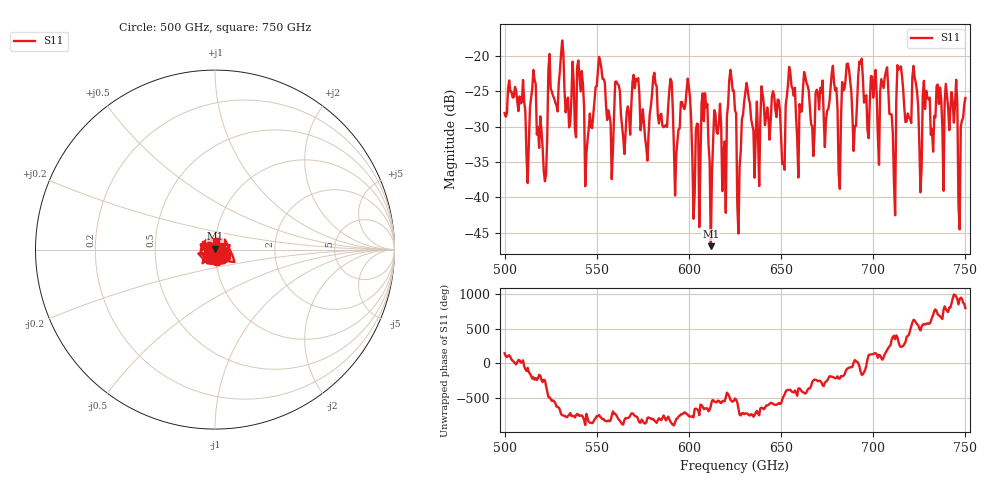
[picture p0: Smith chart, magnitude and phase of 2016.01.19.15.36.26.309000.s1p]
!Created with skrf (http://scikit-rf.org).
# GHz S RI R 50.0
!freq ReS11 ImS11
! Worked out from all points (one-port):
!   401 points, 500 GHz to 750 GHz, reference 50 ohm
!   lowest |S11| = -46.9 dB at 611.9 GHz (marker M1), VSWR 1.01, Z = 49.9 + j0.446 ohm
!   |S11| at or under -10 dB: start of sweep to end of sweep
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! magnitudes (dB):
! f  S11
! 500 GHz  -28.1
! 512.5 GHz  -38.0
! 515.6 GHz  -22.0
! 521.9 GHz  -37.7
! 525 GHz  -24.6
! 531.2 GHz  -17.8
! 545 GHz  -31.9
! 551.2 GHz  -20.1
! 557.5 GHz  -29.4
! 562.5 GHz  -24.9
! 590 GHz  -23.2
! 593.8 GHz  -32.1
! 608.8 GHz  -25.3
! 611.9 GHz  -46.9
! 619.4 GHz  -32.1
! 623.1 GHz  -23.2
! 625 GHz  -27.7
! 627.5 GHz  -35.7
! 631.2 GHz  -23.8
! 650.6 GHz  -35.2
! 656.2 GHz  -24.6
! 678.8 GHz  -23.8
! 681.2 GHz  -36.7
! 687.5 GHz  -23.5
! 718.8 GHz  -28.1
! 743.8 GHz  -29.4
! 747.5 GHz  -30.0
! 750 GHz  -25.9
